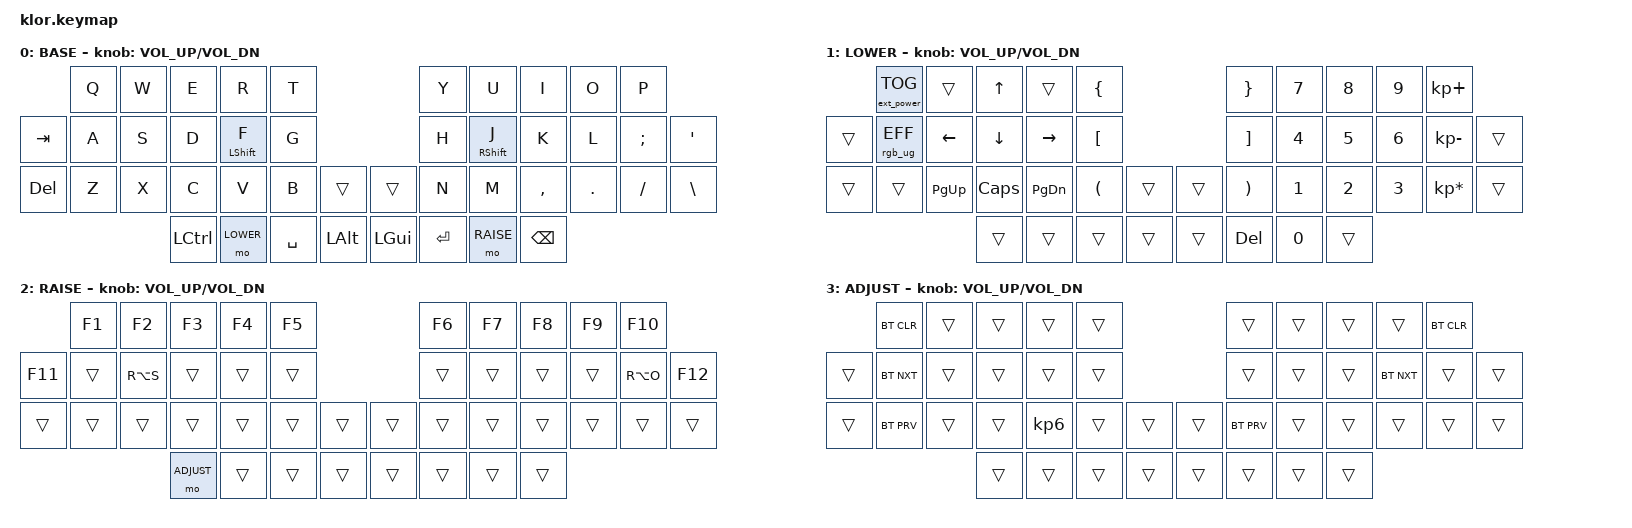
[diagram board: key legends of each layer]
//                               █         █    █            ▄▄▄▀▀▀▀▀▀▄▄▄        █▀▀▀▀▀▀▀▀▀▀█
//                               █        █     █          ▄▀            ▀▄      █          █
//                               █       █      █        ▄▀                ▀▄    █          █
//                               █      █       █        █                  █    █          █
//                               █     █        █       █                    █   █          █
//                               █    █         █       █                    █   █▄▄▄▄▄▄▄▄▄▄█
//                               █   █ █        █       █                    █   █      █
//                               █  █   █       █        █                  █    █       █
//                               █ █     █      █        ▀▄                ▄▀    █        █
//                               ██       █     █          ▀▄            ▄▀      █         █
//                               █         █    █▄▄▄▄▄▄▄▄    ▀▀▀▄▄▄▄▄▄▀▀▀        █          █
//
// ▄▄▄▄▄▄▄▄▄▄▄▄▄▄▄▄▄▄▄▄▄▄▄▄▄▄▄▄▄▄▄▄▄▄▄▄▄▄▄▄▄▄▄▄▄▄▄▄▄▄▄▄▄▄▄▄▄▄▄▄▄▄▄▄▄▄▄▄▄▄▄▄▄▄▄▄▄▄▄▄▄▄▄▄▄▄▄▄▄▄▄▄▄▄▄▄▄▄▄▄▄▄▄▄▄▄▄▄▄▄▄▄▄▄▄▄▄▄▄▄▄▄▄▄▄

#include <behaviors.dtsi>
#include <dt-bindings/zmk/bt.h>
#include <dt-bindings/zmk/ext_power.h>
#include <dt-bindings/zmk/keys.h>
#include <dt-bindings/zmk/rgb.h>

#define BASE   0
#define LOWER  1
#define RAISE  2
#define ADJUST 3

/ {
    behaviors {
        hm: homerow_mods {
            compatible = "zmk,behavior-hold-tap";
            label = "HOMEROW_MODS";
            #binding-cells = <2>;
            tapping-term-ms = <150>;
            quick_tap_ms = <0>;
            flavor = "tap-preferred";
            bindings = <&kp>, <&kp>;
        };
    };

    combos {
        compatible = "zmk,combos";

        combo_esc {
            timeout-ms = <50>;
            key-positions = <0 1>;
            bindings = <&kp ESC>;
        };
    };

    keymap {
        compatible = "zmk,keymap";

        // ▄▄▄▄▄▄▄▄▄▄▄▄▄▄▄▄▄▄▄▄▄▄▄▄▄▄▄▄▄▄▄▄▄▄▄▄▄▄▄▄▄▄▄▄▄▄▄▄▄▄▄▄▄▄▄▄▄▄▄▄▄▄▄▄▄▄▄▄▄▄▄▄▄▄▄▄▄▄▄▄▄▄▄▄▄▄▄▄▄▄▄▄▄▄▄▄▄▄▄▄▄▄▄▄▄▄▄▄▄▄▄▄▄▄▄▄▄▄▄▄▄▄▄▄▄▄▄▄▄▄▄▄▄▄▄▄▄▄▄▄▄▄

        base_layer {
            // ┌───────────────────────────────────────────────────────────┐

            label = "BASE";

            // └───────────────────────────────────────────────────────────┘
            /*           ┌─────────┬─────────┬─────────┬─────────┬─────────┐                    ┌─────────┬─────────┬─────────┬─────────┬─────────┐
             │    Q    │    W    │    E    │    R    │    T    │                    │    Y    │    U    │    I    │    O    │    P    │   
   ┌─────────┼─────────┼─────────┼─────────┼─────────┼─────────┤                    ├─────────┼─────────┼─────────┼─────────┼─────────┼─────────┐
   │   TAB   │    A    │    S    │    D    │    F    │    G    │                    │    H    │    J    │    K    │    L    │    ;    │    "    │
   ├─────────┼─────────┼─────────┼─────────┼─────────┼─────────┤╭────────╮╭────────╮├─────────┼─────────┼─────────┼─────────┼─────────┼─────────┤
   │   DEL   │    Z    │    X    │    C    │    V    │    B    ││  MUTE  ││PLY/PSE ││    N    │    M    │    ,    │    .    │    /    │    \    │
   └─────────┴─────────┴─────────┼─────────┼─────────┼─────────┼╰────────╯╰────────╯┼─────────┼─────────┼─────────┼─────────┴─────────┴─────────┘
                                 │  CTRL   │  LOWER  │  SPACE  │   ALT   ││ CMD/WIN │  ENTER  │  RAISE  │  BSPCE  │  
                                 └─────────┴─────────┴─────────┴─────────┘└─────────┴─────────┴─────────┴─────────┘ */

            bindings = <
         &kp Q  &kp W  &kp E      &kp R        &kp T                          &kp Y    &kp U        &kp I      &kp O    &kp P
&kp TAB  &kp A  &kp S  &kp D      &hm LSHFT F  &kp G                          &kp H    &hm RSHFT J  &kp K      &kp L    &kp SEMI  &kp SQT
&kp DEL  &kp Z  &kp X  &kp C      &kp V        &kp B      &trans    &trans    &kp N    &kp M        &kp COMMA  &kp DOT  &kp FSLH  &kp BSLH
                       &kp LCTRL  &mo LOWER    &kp SPACE  &kp LALT  &kp LGUI  &kp RET  &mo RAISE    &kp BSPC
            >;

            sensor-bindings = <&inc_dec_kp C_VOL_UP C_VOL_DN>;
        };

        // ▄▄▄▄▄▄▄▄▄▄▄▄▄▄▄▄▄▄▄▄▄▄▄▄▄▄▄▄▄▄▄▄▄▄▄▄▄▄▄▄▄▄▄▄▄▄▄▄▄▄▄▄▄▄▄▄▄▄▄▄▄▄▄▄▄▄▄▄▄▄▄▄▄▄▄▄▄▄▄▄▄▄▄▄▄▄▄▄▄▄▄▄▄▄▄▄▄▄▄▄▄▄▄▄▄▄▄▄▄▄▄▄▄▄▄▄▄▄▄▄▄▄▄▄▄▄▄▄▄▄▄▄▄▄▄▄▄▄▄▄▄▄

        lower_layer {
            // ┌───────────────────────────────────────────────────────────┐

            label = "LOWER";

            // └───────────────────────────────────────────────────────────┘
            /*           ┌─────────┬─────────┬─────────┬─────────┬─────────┐                    ┌─────────┬─────────┬─────────┬─────────┬─────────┐
             │         │         │    UP   │         │    {    │                    │    }    │    7    │    8    │    9    │    +    │
   ┌─────────┼─────────┼─────────┼─────────┼─────────┼─────────┤                    ├─────────┼─────────┼─────────┼─────────┼─────────┼─────────┐
   │         │         │   LEFT  │  DOWN   │  RIGHT  │    [    │                    │    ]    │    4    │    5    │    6    │    -    │         │
   ├─────────┼─────────┼─────────┼─────────┼─────────┼─────────┤╭────────╮╭────────╮├─────────┼─────────┼─────────┼─────────┼─────────┼─────────┤
   │         │         │   P UP  │ C LOCK  │ P DOWN  │    (    ││        ││        ││    )    │    1    │    2    │    3    │    *    │         │
   └─────────┴─────────┴─────────┼─────────┼─────────┼─────────┼╰────────╯╰────────╯┼─────────┼─────────┼─────────┼─────────┴─────────┴─────────┘
                                 │         │         │         │         ││         │         │    0    │         │  
                                 └─────────┴─────────┴─────────┴─────────┘└─────────┴─────────┴─────────┴─────────┘ */

            bindings = <
        &ext_power EP_TOG  &trans     &kp UP    &trans     &kp LBRC                  &kp RBRC    &kp N7        &kp N8        &kp N9        &kp KP_PLUS
&trans  &rgb_ug RGB_EFF    &kp LEFT   &kp DOWN  &kp RIGHT  &kp LBKT                  &kp RBKT    &kp NUMBER_4  &kp N5        &kp NUMBER_6  &kp KP_MINUS     &trans
&trans  &trans             &kp PG_UP  &kp CAPS  &kp PG_DN  &kp LPAR  &trans  &trans  &kp RPAR    &kp NUMBER_1  &kp NUMBER_2  &kp NUMBER_3  &kp KP_MULTIPLY  &trans
                                      &trans    &trans     &trans    &trans  &trans  &kp DELETE  &kp N0        &trans
            >;

            sensor-bindings = <&inc_dec_kp C_VOL_UP C_VOL_DN>;
        };

        // ▄▄▄▄▄▄▄▄▄▄▄▄▄▄▄▄▄▄▄▄▄▄▄▄▄▄▄▄▄▄▄▄▄▄▄▄▄▄▄▄▄▄▄▄▄▄▄▄▄▄▄▄▄▄▄▄▄▄▄▄▄▄▄▄▄▄▄▄▄▄▄▄▄▄▄▄▄▄▄▄▄▄▄▄▄▄▄▄▄▄▄▄▄▄▄▄▄▄▄▄▄▄▄▄▄▄▄▄▄▄▄▄▄▄▄▄▄▄▄▄▄▄▄▄▄

        raise_layer {
            // ┌───────────────────────────────────────────────────────────┐

            label = "RAISE";

            // └───────────────────────────────────────────────────────────┘
            /*           ┌─────────┬─────────┬─────────┬─────────┬─────────┐                    ┌─────────┬─────────┬─────────┬─────────┬─────────┐
             │         │         │         │         │         │                    │         │         │    Ü    │         │         │
   ┌─────────┼─────────┼─────────┼─────────┼─────────┼─────────┤                    ├─────────┼─────────┼─────────┼─────────┼─────────┼─────────┐
   │    Ä    │         │    ß    │         │         │         │                    │         │         │         │         │    Ö    │         │
   ├─────────┼─────────┼─────────┼─────────┼─────────┼─────────┤╭────────╮╭────────╮├─────────┼─────────┼─────────┼─────────┼─────────┼─────────┤
   │         │         │         │         │         │         ││        ││        ││         │         │         │         │         │         │
   └─────────┴─────────┴─────────┼─────────┼─────────┼─────────┼╰────────╯╰────────╯┼─────────┼─────────┼─────────┼─────────┴─────────┴─────────┘
                                 │ ADJUST  │         │         │         ││         │         │         │         │  
                                 └─────────┴─────────┴─────────┴─────────┘└─────────┴─────────┴─────────┴─────────┘ */

            bindings = <
         &kp F1  &kp F2     &kp F3      &kp F4  &kp F5                  &kp F6  &kp F7  &kp F8  &kp F9  &kp F10
&kp F11  &trans  &kp RA(S)  &trans      &trans  &trans                  &trans  &trans  &trans  &trans  &kp RA(O)  &kp F12
&trans   &trans  &trans     &trans      &trans  &trans  &trans  &trans  &trans  &trans  &trans  &trans  &trans     &trans
                            &mo ADJUST  &trans  &trans  &trans  &trans  &trans  &trans  &trans
            >;

            sensor-bindings = <&inc_dec_kp C_VOL_UP C_VOL_DN>;
        };

        // ▄▄▄▄▄▄▄▄▄▄▄▄▄▄▄▄▄▄▄▄▄▄▄▄▄▄▄▄▄▄▄▄▄▄▄▄▄▄▄▄▄▄▄▄▄▄▄▄▄▄▄▄▄▄▄▄▄▄▄▄▄▄▄▄▄▄▄▄▄▄▄▄▄▄▄▄▄▄▄▄▄▄▄▄▄▄▄▄▄▄▄▄▄▄▄▄▄▄▄▄▄▄▄▄▄▄▄▄▄▄▄▄▄▄▄▄▄▄▄▄▄▄▄▄▄

        adjust_layer {
            // ┌───────────────────────────────────────────────────────────┐

            label = "ADJUST";

            // └───────────────────────────────────────────────────────────┘
            /*           ┌─────────┬─────────┬─────────┬─────────┬─────────┐                    ┌─────────┬─────────┬─────────┬─────────┬─────────┐
             │         │         │         │         │         │                    │         │         │         │         │         │
   ┌─────────┼─────────┼─────────┼─────────┼─────────┼─────────┤                    ├─────────┼─────────┼─────────┼─────────┼─────────┼─────────┐
   │         │         │         │         │         │         │                    │         │         │         │         │         │         │
   ├─────────┼─────────┼─────────┼─────────┼─────────┼─────────┤╭────────╮╭────────╮├─────────┼─────────┼─────────┼─────────┼─────────┼─────────┤
   │         │         │         │         │         │         ││        ││        ││         │         │         │         │         │         │
   └─────────┴─────────┴─────────┼─────────┼─────────┼─────────┼╰────────╯╰────────╯┼─────────┼─────────┼─────────┼─────────┴─────────┴─────────┘
                                 │         │         │         │         ││         │         │         │         │  
                                 └─────────┴─────────┴─────────┴─────────┘└─────────┴─────────┴─────────┴─────────┘ */

            bindings = <
        &bt BT_CLR  &trans  &trans  &trans     &trans                  &trans      &trans  &trans  &trans      &bt BT_CLR
&trans  &bt BT_NXT  &trans  &trans  &trans     &trans                  &trans      &trans  &trans  &bt BT_NXT  &trans      &trans
&trans  &bt BT_PRV  &trans  &trans  &kp KP_N6  &trans  &trans  &trans  &bt BT_PRV  &trans  &trans  &trans      &trans      &trans
                            &trans  &trans     &trans  &trans  &trans  &trans      &trans  &trans
            >;

            sensor-bindings = <&inc_dec_kp C_VOL_UP C_VOL_DN>;
        };
    };
};
